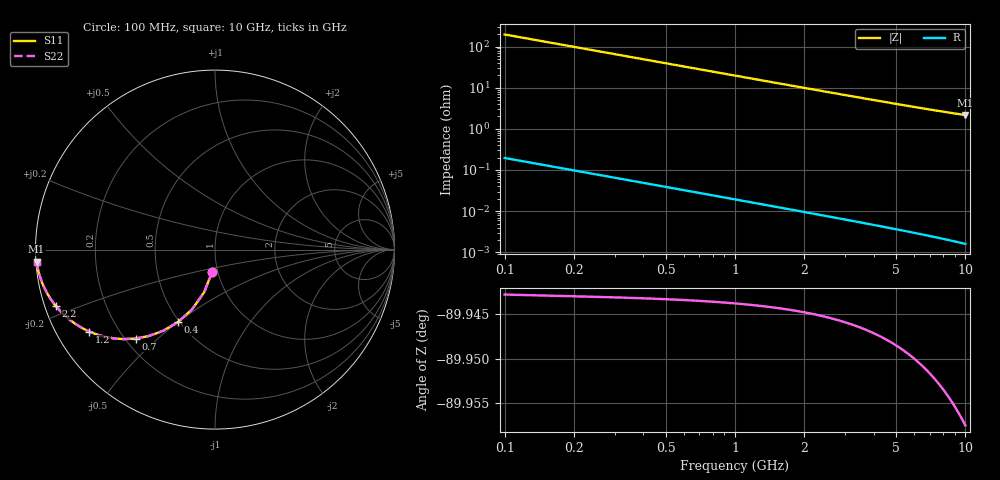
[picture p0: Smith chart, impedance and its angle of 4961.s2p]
# Hz S RI R 50.00
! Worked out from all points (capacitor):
!   100 points, 100 MHz to 10 GHz, reference 50 ohm
!   read as one part in shunt: C = 8.11 pF near 100 MHz
!   lowest |Z| = 2.16 ohm at 10 GHz (marker M1)
!   S11 on the Smith chart (normalised r, x): 100 MHz: 0.94, -0.24; 400 MHz: 0.49, -0.50; 700 MHz: 0.24, -0.43; 1.2 GHz: 0.10, -0.30; 2.2 GHz: 0.03, -0.17; 10 GHz: 0.00, -0.03
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1e8  -0.0161 -0.1252  0.9839 -0.1254  0.9839 -0.1254  -0.0161 -0.1252
2e8  -0.0611 -0.2389  0.9388 -0.2393  0.9388 -0.2393  -0.0611 -0.2389
3e8  -0.1276 -0.3329  0.8724 -0.3334  0.8724 -0.3334  -0.1276 -0.3329
4e8  -0.2062 -0.4037  0.7937 -0.4045  0.7937 -0.4045  -0.2062 -0.4037
5e8  -0.2886 -0.4522  0.7114 -0.4531  0.7114 -0.4531  -0.2886 -0.4522
6e8  -0.3686 -0.4814  0.6314 -0.4825  0.6314 -0.4825  -0.3686 -0.4814
7e8  -0.4426 -0.4956  0.5574 -0.4968  0.5574 -0.4968  -0.4426 -0.4956
8e8  -0.5089 -0.4987  0.491 -0.5001  0.491 -0.5001  -0.5089 -0.4987
9e8  -0.5673 -0.4941  0.4327 -0.4958  0.4327 -0.4958  -0.5673 -0.4941
1e9  -0.618 -0.4845  0.382 -0.4863  0.382 -0.4863  -0.618 -0.4845
1.2e9  -0.6994 -0.4569  0.3005 -0.4591  0.3005 -0.4591  -0.6994 -0.4569
1.3e9  -0.7319 -0.4413  0.2681 -0.4436  0.2681 -0.4436  -0.7319 -0.4413
1.5e9  -0.7841 -0.4096  0.2159 -0.4123  0.2159 -0.4123  -0.7841 -0.4096
1.8e9  -0.8393 -0.3651  0.1607 -0.3684  0.1607 -0.3684  -0.8393 -0.3651
2.2e9  -0.8862 -0.315  0.1137 -0.319  0.1137 -0.319  -0.8862 -0.315
2.7e9  -0.9213 -0.2662  0.0786 -0.2711  0.0786 -0.2711  -0.9213 -0.2662
3.4e9  -0.9489 -0.2166  0.0511 -0.2228  0.0511 -0.2228  -0.9489 -0.2166
4.2e9  -0.9659 -0.1771  0.0341 -0.1848  0.0341 -0.1848  -0.9659 -0.1771
5.1e9  -0.9766 -0.1457  0.0233 -0.1552  0.0233 -0.1552  -0.9766 -0.1457
6.7e9  -0.9864 -0.1088  0.0135 -0.1214  0.0135 -0.1214  -0.9864 -0.1088
8.4e9  -0.9914 -0.0834  0.00845 -0.0995  0.00845 -0.0995  -0.9914 -0.0834
1e10  -0.994 -0.0665  0.00581 -0.0859  0.00581 -0.0859  -0.994 -0.0665
